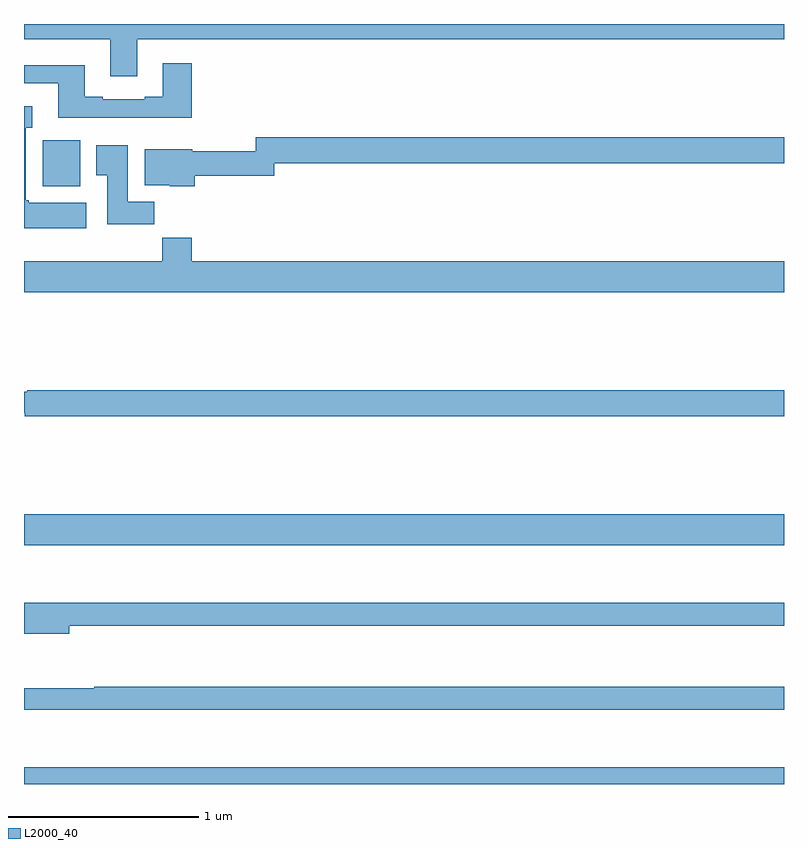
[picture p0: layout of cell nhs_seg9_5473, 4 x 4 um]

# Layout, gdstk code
import gdstk
lib = gdstk.Library(unit=1e-6, precision=1e-09)
def R(c, l, rs):  # rectangles x0, y0, x1, y1
    for r in rs: c.add(gdstk.rectangle(r[:2], r[2:], *l))
def P(c, l, *ps):  # polygons
    for p in ps: c.add(gdstk.Polygon(p, *l))
L2000_40 = (2000, 40)

nhs_seg9_5473 = lib.new_cell('nhs_seg9_5473')
R(nhs_seg9_5473, L2000_40, [(429,1192.5,433,1192.588), (429,1193.756,433,1193.92), (429.098,1195.646,429.295,1195.888)])
P(nhs_seg9_5473, L2000_40, [(429.595,1196.42),(433,1196.42),(433,1196.5),(429,1196.5),(429,1196.42),(429.455,1196.42),(429.455,1196.226),(429.595,1196.226)],
  [(429.884,1196.293),(429.731,1196.293),(429.731,1196.116),(429.635,1196.116),(429.635,1196.103),(429.415,1196.103),(429.415,1196.116),(429.319,1196.116),(429.319,1196.284),(429,1196.284),(429,1196.187),(429.179,1196.187),(429.179,1196.006),(429.884,1196.006)],
  [(429.328,1195.558),(429.024,1195.558),(429.024,1195.572),(429.01,1195.572),(429.01,1195.955),(429.043,1195.955),(429.043,1196.068),(429,1196.068),(429,1195.424),(429.328,1195.424)],
  [(429.899,1195.701),(430.317,1195.701),(430.317,1195.768),(433,1195.768),(433,1195.904),(430.221,1195.904),(430.221,1195.829),(429.886,1195.829),(429.886,1195.84),(429.635,1195.84),(429.635,1195.652),(429.768,1195.652),(429.768,1195.646),(429.899,1195.646)],
  [(429.686,1195.564),(429.547,1195.564),(429.547,1195.861),(429.38,1195.861),(429.38,1195.705),(429.437,1195.705),(429.437,1195.446),(429.686,1195.446)],
  [(433,1195.252),(429.884,1195.252),(429.884,1195.376),(429.727,1195.376),(429.727,1195.252),(429,1195.252),(429,1195.088),(433,1195.088)],
  [(433,1194.572),(429.017,1194.572),(429.017,1194.565),(429,1194.565),(429,1194.455),(429.004,1194.455),(429.004,1194.436),(433,1194.436)],
  [(429.238,1193.334),(433,1193.334),(433,1193.455),(429,1193.455),(429,1193.291),(429.238,1193.291)],
  [(433,1193.011),(429.371,1193.011),(429.371,1193.003),(429,1193.003),(429,1192.89),(433,1192.89)])

lib.write_gds('nhs_seg9_5473.gds')
